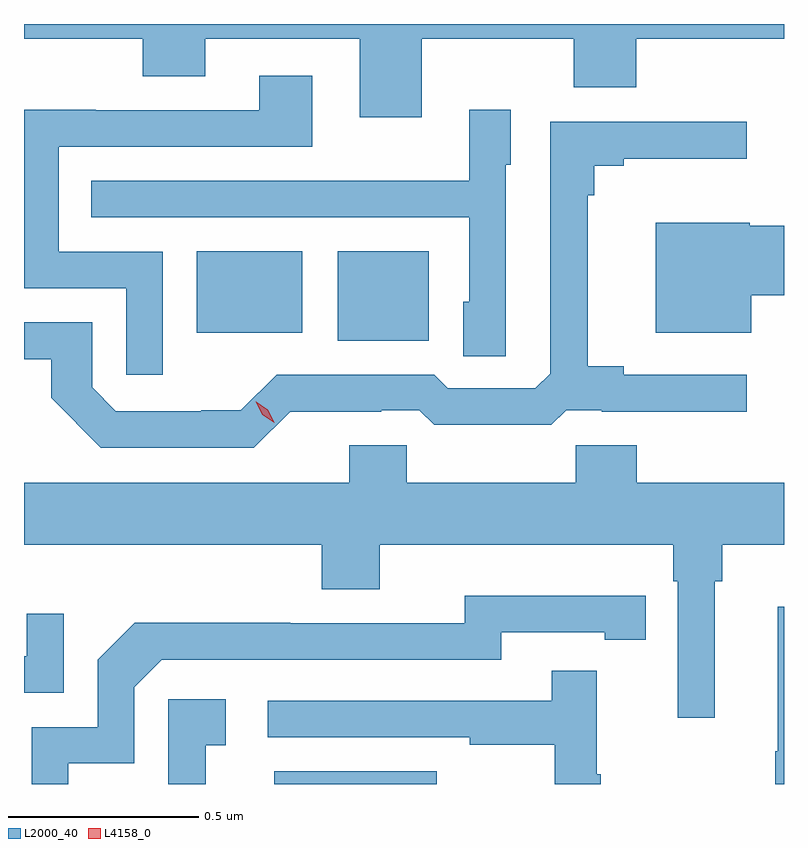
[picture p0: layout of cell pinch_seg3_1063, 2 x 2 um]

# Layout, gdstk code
import gdstk
lib = gdstk.Library(unit=1e-6, precision=1e-09)
def R(c, l, rs):  # rectangles x0, y0, x1, y1
    for r in rs: c.add(gdstk.rectangle(r[:2], r[2:], *l))
def P(c, l, *ps):  # polygons
    for p in ps: c.add(gdstk.Polygon(p, *l))
L2000_40 = (2000, 40)
L4158_0 = (4158, 0)

pinch_seg3_1063 = lib.new_cell('pinch_seg3_1063')
R(pinch_seg3_1063, L2000_40, [(361.814,729.591,362.242,729.625), (361.982,730.757,362.221,730.993), (361.61,730.778,361.888,730.993)])
P(pinch_seg3_1063, L2000_40, [(362.203,731.552),(362.603,731.552),(362.603,731.424),(362.767,731.424),(362.767,731.552),(363.156,731.552),(363.156,731.591),(361.156,731.591),(361.156,731.552),(361.469,731.552),(361.469,731.453),(361.633,731.453),(361.633,731.552),(362.039,731.552),(362.039,731.346),(362.203,731.346)],
  [(361.521,730.992),(361.248,730.992),(361.248,731.268),(361.915,731.268),(361.915,731.455),(361.775,731.455),(361.775,731.364),(361.345,731.364),(361.345,731.366),(361.156,731.366),(361.156,730.896),(361.425,730.896),(361.425,730.668),(361.521,730.668)],
  [(362.424,731.22),(362.437,731.22),(362.437,731.365),(362.328,731.365),(362.328,731.179),(362.011,731.179),(362.011,731.178),(361.333,731.178),(361.333,731.082),(362.328,731.082),(362.328,730.86),(362.312,730.86),(362.312,730.717),(362.424,730.717)],
  [(361.856,730.571),(362.096,730.571),(362.096,730.575),(362.196,730.575),(362.236,730.536),(362.543,730.536),(362.583,730.575),(362.677,730.575),(362.677,730.571),(363.058,730.571),(363.058,730.668),(362.734,730.668),(362.734,730.691),(362.639,730.691),(362.639,731.141),(362.657,731.141),(362.657,731.218),(362.734,731.218),(362.734,731.237),(363.058,731.237),(363.058,731.334),(362.541,731.334),(362.541,730.671),(362.502,730.632),(362.271,730.632),(362.235,730.668),(361.821,730.668),(361.727,730.574),(361.622,730.574),(361.622,730.572),(361.398,730.572),(361.335,730.635),(361.335,730.806),(361.156,730.806),(361.156,730.709),(361.228,730.709),(361.228,730.607),(361.358,730.476),(361.761,730.476)],
  [(363.07,730.877),(363.156,730.877),(363.156,731.06),(363.066,731.06),(363.066,731.068),(362.819,731.068),(362.819,730.778),(363.07,730.778)],
  [(362.974,730.124),(362.993,730.124),(362.993,730.22),(363.156,730.22),(363.156,730.384),(362.768,730.384),(362.768,730.482),(362.608,730.482),(362.608,730.384),(362.163,730.384),(362.163,730.482),(362.012,730.482),(362.012,730.384),(361.156,730.384),(361.156,730.22),(361.94,730.22),(361.94,730.103),(362.092,730.103),(362.092,730.22),(362.864,730.22),(362.864,730.124),(362.877,730.124),(362.877,729.765),(362.974,729.765)],
  [(361.273,729.645),(361.446,729.645),(361.446,729.846),(361.518,729.918),(362.412,729.918),(362.412,729.99),(362.684,729.99),(362.684,729.97),(362.792,729.97),(362.792,730.086),(362.684,730.086),(362.684,730.087),(362.316,730.087),(362.316,730.014),(361.856,730.014),(361.856,730.016),(361.448,730.016),(361.35,729.918),(361.35,729.741),(361.176,729.741),(361.176,729.591),(361.273,729.591)],
  [(363.156,730.057),(363.14,730.057),(363.14,729.677),(363.133,729.677),(363.133,729.591),(363.156,729.591)],
  [(361.26,730.039),(361.163,730.039),(361.163,729.927),(361.156,729.927),(361.156,729.831),(361.26,729.831)],
  [(362.674,729.617),(362.663,729.617),(362.663,729.889),(362.545,729.889),(362.545,729.81),(361.797,729.81),(361.797,729.714),(362.329,729.714),(362.329,729.694),(362.553,729.694),(362.553,729.591),(362.674,729.591)],
  [(361.634,729.693),(361.687,729.693),(361.687,729.814),(361.536,729.814),(361.536,729.591),(361.634,729.591)])
P(pinch_seg3_1063, L4158_0, [(361.814,730.542),(361.783,730.563),(361.766,730.597),(361.766,730.597),(361.767,730.597),(361.798,730.576),(361.814,730.543),(361.814,730.542)])

lib.write_gds('pinch_seg3_1063.gds')
